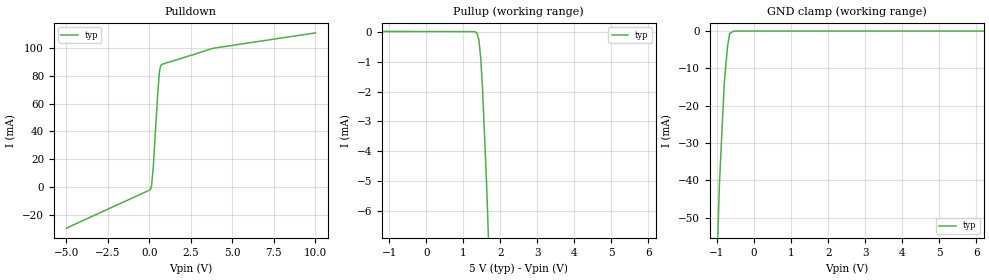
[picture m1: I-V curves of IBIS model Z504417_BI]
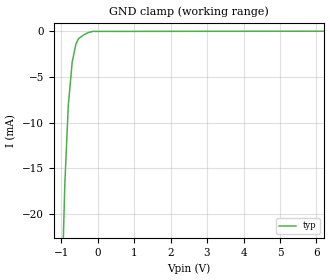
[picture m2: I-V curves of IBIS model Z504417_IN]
| YOU ARE ONLY AUTHORIZED TO USE THIS SOFTWARE
| ACCORDING TO LICENSOR'S LICENSE RESTRICTIONS.
[IBIS Ver] 3.1
[File Name] sn54ls242j.ibs
[File Rev] 2.0
[Source] Measured and created by ICX Technology
[Date] Friday 7/14/00 9:08:14 AM
[Copyright]
| (C) COPYRIGHT 1993-2000
| MENTOR GRAPHICS CORPORATION
| ICX STANDARD LIBRARY, ICX PROJECT MODELING,
| ICX CUSTOM MODELING, ICX VENDOR MODEL
| ALL RIGHTS RESERVED.
| THE FOLLOWING ARE TRADEMARKS OR SERVICE MARKS OF
| MENTOR GRAPHICS CORPORATION:ICX (R), ICX STANDARD
| LIBRARY(R), ICX PROJECT MODELING(R), ICX CUSTOM
| MODELING(R), qualityIBIS(TM), MODELVIEWER(TM),
| AND MODELEDITOR(TM)
| ALL COPIES OF SOFTWARE, INCLUDING BUT NOT LIMITED TO
| ANY MODIFICATIONS, ENHANCEMENTS OR DERIVATIVE WORKS,
| MUST CONTAIN ALL MENTOR GRAPHICS CORPORATION'S
| NOTICES AND LEGENDS, INCLUDING THOSE EMBEDDED IN
| SOFTWARE AND THOSE AFFIXED TO SOFTWARE MEDIUM
| AND CONTAINER, AS RECEIVED FROM MENTOR GRAPHICS
| CORPORATION.
|  ZAP Model Builder 2.7
[Component] SN54LS242J
[Manufacturer] OnSemiconductor
[Package]
| variable   typ   min   max
R_pkg  .21ohms NA NA
L_pkg  4.543nH NA NA
C_pkg  1.8pF NA NA
[Pin] signal_name  model_name  R_pin  L_pin C_pin
1 _GAB Z504417_IN .22 6.757n 2.434p
2 NC NC .212 4.757n 1.941p
3 A0 Z504417_BI .204 3.257n 1.448p
4 A1 Z504417_BI .196 2.257n .955p
5 A2 Z504417_BI .204 3.257n 1.448p
6 A3 Z504417_BI .212 4.757n 1.941p
7 GND GND .22 6.757n 2.434p
8 B3 Z504417_BI .22 6.757n 2.434p
9 B2 Z504417_BI .212 4.757n 1.941p
10 B1 Z504417_BI .204 3.257n 1.448p
11 B0 Z504417_BI .196 2.257n .955p
12 NC NC .204 3.257n 1.448p
13 GBA Z504417_IN .212 4.757n 1.941p
14 VCC POWER .22 6.757n 2.434p
| Models and submodels in the file (2): Z504417_BI (I/O), Z504417_IN (Input)
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| (C) COPYRIGHT 1993-2000
| MENTOR GRAPHICS CORPORATION
| ICX STANDARD LIBRARY, ICX PROJECT MODELING,
| ICX CUSTOM MODELING, ICX VENDOR MODEL
| ALL RIGHTS RESERVED.
| THE FOLLOWING ARE TRADEMARKS OR SERVICE MARKS OF
| MENTOR GRAPHICS CORPORATION:ICX (R), ICX STANDARD
| LIBRARY(R), ICX PROJECT MODELING(R), ICX CUSTOM
| MODELING(R), qualityIBIS(TM), MODELVIEWER(TM),
| AND MODELEDITOR(TM)
| ALL COPIES OF SOFTWARE, INCLUDING BUT NOT LIMITED TO
| ANY MODIFICATIONS, ENHANCEMENTS OR DERIVATIVE WORKS,
| MUST CONTAIN ALL MENTOR GRAPHICS CORPORATION'S
| NOTICES AND LEGENDS, INCLUDING THOSE EMBEDDED IN
| SOFTWARE AND THOSE AFFIXED TO SOFTWARE MEDIUM
| AND CONTAINER, AS RECEIVED FROM MENTOR GRAPHICS
| CORPORATION.
| Model Application Version 1.89 2/18/99.
[Model] Z504417_BI
Model_type I/O
Vinl=800.0mV
Vinh=2.000V
Vref=588.0mV
Rref=588.5ohms
Cref=45.00pF
Vmeas=1.300V
C_comp 8.000pF NA NA
| variable typ   min   max
[Voltage Range] 5.000V NA NA
[POWER Clamp Reference] 5.000V NA NA
[Pullup Reference] 5.000V NA NA
[Pulldown Reference] 0.000V NA NA
[GND Clamp Reference] 0.000V NA NA
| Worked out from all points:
|   slope of the pulldown table from 0 to 0.75 V, typ, clamps not added: 8.28 ohm
|   GND clamp passes 1 mA (typ) near -0.66 V on its own axis
[GND Clamp]
-5V       -1.927A    NA         NA
-1.055V   -79.28mA   NA         NA
-936.1mV  -41.02mA   NA         NA
-805.6mV  -13.99mA   NA         NA
-717.8mV  -4.141mA   NA         NA
-659.2mV  -670.5uA   NA         NA
-549.3mV  0A         NA         NA
10V       0A         NA         NA
[Pulldown]
-5V       -29.81mA   NA         NA
30.52mV   -2.308mA   NA         NA
87.89mV   -1.237mA   NA         NA
131.3mV   722.5uA    NA         NA
234.3mV   13.75mA    NA         NA
513.5mV   68.94mA    NA         NA
597.4mV   81.52mA    NA         NA
633.9mV   84.88mA    NA         NA
693.2mV   87.44mA    NA         NA
732.2mV   87.98mA    NA         NA
3.829V    99.8mA     NA         NA
10V       110.9mA    NA         NA
[Pullup]
-5V       19.41uA    NA         NA
1.301V    905.6nA    NA         NA
1.364V    -35.3uA    NA         NA
1.421V    -263.1uA   NA         NA
1.474V    -896.7uA   NA         NA
1.524V    -1.982mA   NA         NA
1.631V    -5.097mA   NA         NA
10V       -305.3mA   NA         NA
[POWER Clamp]
-5V       0A         NA         NA
10V       0A         NA         NA
[Ramp]
| variable typ min max
dV/dt_r 1.929/5.389n NA NA
dV/dt_f 1.929/2.586n NA NA
R_load = 500.0Ohms
| (C) COPYRIGHT 1993-2000
| MENTOR GRAPHICS CORPORATION
| ICX STANDARD LIBRARY, ICX PROJECT MODELING,
| ICX CUSTOM MODELING, ICX VENDOR MODEL
| ALL RIGHTS RESERVED.
| THE FOLLOWING ARE TRADEMARKS OR SERVICE MARKS OF
| MENTOR GRAPHICS CORPORATION:ICX (R), ICX STANDARD
| LIBRARY(R), ICX PROJECT MODELING(R), ICX CUSTOM
| MODELING(R), qualityIBIS(TM), MODELVIEWER(TM),
| AND MODELEDITOR(TM)
| ALL COPIES OF SOFTWARE, INCLUDING BUT NOT LIMITED TO
| ANY MODIFICATIONS, ENHANCEMENTS OR DERIVATIVE WORKS,
| MUST CONTAIN ALL MENTOR GRAPHICS CORPORATION'S
| NOTICES AND LEGENDS, INCLUDING THOSE EMBEDDED IN
| SOFTWARE AND THOSE AFFIXED TO SOFTWARE MEDIUM
| AND CONTAINER, AS RECEIVED FROM MENTOR GRAPHICS
| CORPORATION.
| Model Application Version 1.89 2/18/99.
[Model] Z504417_IN
Model_type Input
Vinl = 800.0mV
Vinh = 2.000V
C_comp 4.000pF NA NA
| variable typ   min   max
[Voltage Range] 5.000V NA NA
[GND Clamp Reference] 0.000V NA NA
[POWER Clamp Reference] 5.000V NA NA
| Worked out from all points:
|   GND clamp passes 1 mA (typ) near -0.55 V on its own axis
[GND Clamp]
-5V       -615.9mA   NA         NA
-898.4mV  -16.71mA   NA         NA
-804.2mV  -8.163mA   NA         NA
-696.8mV  -3.375mA   NA         NA
-595.5mV  -1.407mA   NA         NA
-522.5mV  -811.3uA   NA         NA
-366.2mV  -357.6uA   NA         NA
-247.3mV  -128.6uA   NA         NA
-123.6mV  -12.06uA   NA         NA
10V       22.83uA    NA         NA
[POWER Clamp]
-5V       0A         NA         NA
10V       0A         NA         NA
